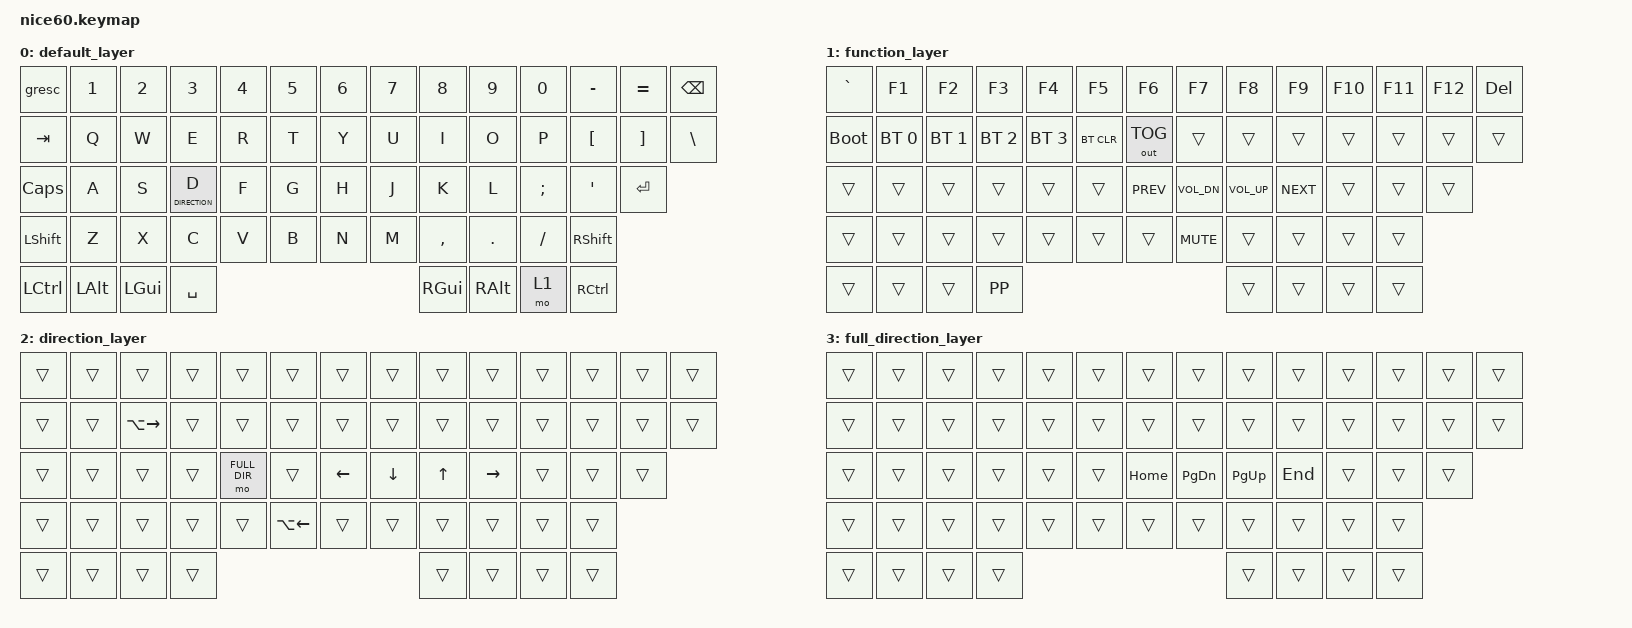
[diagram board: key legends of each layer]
/*
 * Copyright (c) 2021 Nick Winans
 *
 * SPDX-License-Identifier: MIT
 */

#include <behaviors.dtsi>
#include <dt-bindings/zmk/keys.h>
/*#include <dt-bindings/zmk/rgb.h>*/
#include <dt-bindings/zmk/bt.h>
#include <dt-bindings/zmk/outputs.h>
#include <dt-bindings/zmk/reset.h>
#include <dt-bindings/zmk/ext_power.h>


#define DEFAULT    0
#define FUNCTION   1
#define DIRECTION  2
#define FULL_DIR   3

/ {
	keymap {
		compatible = "zmk,keymap";

		default_layer {
// ------------------------------------------------------------------------------------------
// | ESC |  1  |  2  |  3  |  4  |  5  |  6  |  7  |  8  |  9  |  0  |  -  |  =  |   BKSP   |
// | TAB  |  Q  |  W  |  E  |  R  |  T  |  Y  |  U  |  I  |  O  |  P  |  [  |  ]  |   "|"   |
// | CAPS  |  A  |  S  |  D  |  F  |  G  |  H  |  J  |  K  |  L  |  ;  |  '  |     ENTER    |
// |  SHIFT  |  Z  |  X  |  C  |  V  |  B  |  N  |  M  |  ,  |  .  |  /  |      SHIFT       |
// |  CTL  |  WIN  |  ALT  |            SPACE              |  ALT  |  WIN  |  MO(1) |  CTL  |
// ------------------------------------------------------------------------------------------
			bindings = <
	&gresc     &kp N1    &kp N2   &kp N3           &kp N4  &kp N5  &kp N6  &kp N7  &kp N8    &kp N9    &kp N0    &kp MINUS  &kp EQUAL  &kp BSPC
	&kp TAB    &kp Q     &kp W    &kp E            &kp R   &kp T   &kp Y   &kp U   &kp I     &kp O     &kp P     &kp LBKT   &kp RBKT   &kp BSLH
	&kp CLCK   &kp A     &kp S    &lt DIRECTION D  &kp F   &kp G   &kp H   &kp J   &kp K     &kp L     &kp SEMI  &kp SQT    &kp RET
	&kp LSHFT &kp Z     &kp X    &kp C            &kp V   &kp B   &kp N   &kp M   &kp COMMA &kp DOT   &kp FSLH  &kp RSHFT
	&kp LCTRL  &kp LALT  &kp LGUI                  &kp SPACE                         &kp RGUI  &kp RALT  &mo 1      &kp RCTRL
			>;
		};

		function_layer {
// --------------------------------------------------------------------------------------
// |  `  | F1  | F2  | F3  | F4  | F5  | F6  | F7  | F8  | F9  | F10  | F11 | F12 | DEL |
// | boot| BT1 | BT2 | BT3 | BT4 |BTCLR|     |     |     |     |      |     |     |     |
// |     | PLAY| MUTE| VOL-| VOL+| PREV| NEXT|     |     |     |      |     |     |
// |     |     |      |      |     |     |     |     |     |     |     |                  |
// |     |      |      |             |    |       |       |  |
// ------------------------------------------------------------------------------------------------
			bindings = <
	&kp GRAVE   &kp F1       &kp F2       &kp F3       &kp F4       &kp F5     &kp F6     &kp F7  &kp F8  &kp F9  &kp F10  &kp F11  &kp F12  &kp DEL
	&bootloader &bt BT_SEL 0 &bt BT_SEL 1 &bt BT_SEL 2 &bt BT_SEL 3 &bt BT_CLR &out OUT_TOG  &trans  &trans  &trans  &trans   &trans   &trans   &trans
	&trans      &trans       &trans       &trans       &trans       &trans     &kp C_PREV &kp C_VOL_DN  &kp C_VOL_UP  &kp C_NEXT  &trans   &trans   &trans
	&trans      &trans       &trans       &trans       &trans       &trans     &trans     &kp C_MUTE  &trans  &trans  &trans   &trans
	&trans      &trans       &trans                            &kp K_PP          &trans  &trans      &trans  &trans
			>;
		};

		direction_layer {
// ------------------------------------------------------------------------------------------
// | ESC |  1  |  2  |  3  |  4  |  5  |  6  |  7  |  8  |  9  |  0  |  -  |  =  |   BKSP   |
// | TAB  |  Q  |  W  |  E  |  R  |  T  |  Y  |  U  |  I  |  O  |  P  |  [  |  ]  |   "|"   |
// | CAPS  |  A  |  S  |  D  |  F  |  G  |  H  |  J  |  K  |  L  |  ;  |  '  |     ENTER    |
// |  SHIFT  |  Z  |  X  |  C  |  V  |  B  |  N  |  M  |  ,  |  .  |  /  |      SHIFT       |
// |  CTL  |  WIN  |  ALT  |            SPACE              |  ALT  |  WIN  |  MO(1) |  CTL  |
// ------------------------------------------------------------------------------------------
			bindings = <
	&trans &trans &trans         &trans &trans        &trans        &trans    &trans    &trans  &trans     &trans &trans &trans &trans
	&trans &trans &kp LA(RIGHT)  &trans &trans        &trans        &trans    &trans    &trans  &trans     &trans &trans &trans &trans
	&trans &trans &trans         &trans &mo FULL_DIR  &trans        &kp LEFT  &kp DOWN  &kp UP  &kp RIGHT  &trans &trans &trans
	&trans &trans &trans         &trans &trans        &kp LA(LEFT)  &trans    &trans    &trans  &trans     &trans &trans
	&trans &trans &trans         &trans &trans        &trans        &trans    &trans
			>;
		};

        full_direction_layer {
// ------------------------------------------------------------------------------------------
// | ESC |  1  |  2  |  3  |  4  |  5  |  6  |  7  |  8  |  9  |  0  |  -  |  =  |   BKSP   |
// | TAB  |  Q  |  W  |  E  |  R  |  T  |  Y  |  U  |  I  |  O  |  P  |  [  |  ]  |   "|"   |
// | CAPS  |  A  |  S  |  D  |  F  |  G  |  H  |  J  |  K  |  L  |  ;  |  '  |     ENTER    |
// |  SHIFT  |  Z  |  X  |  C  |  V  |  B  |  N  |  M  |  ,  |  .  |  /  |      SHIFT       |
// |  CTL  |  WIN  |  ALT  |            SPACE              |  ALT  |  WIN  |  MO(1) |  CTL  |
// ------------------------------------------------------------------------------------------
			bindings = <
	&trans &trans &trans &trans &trans &trans &trans   &trans    &trans    &trans  &trans &trans &trans &trans
	&trans &trans &trans &trans &trans &trans &trans   &trans    &trans    &trans  &trans &trans &trans &trans
	&trans &trans &trans &trans &trans &trans &kp HOME &kp PG_DN &kp PG_UP &kp END &trans &trans &trans
	&trans &trans &trans &trans &trans &trans &trans   &trans    &trans    &trans  &trans &trans
	&trans &trans &trans &trans &trans &trans &trans   &trans
			>;
		};

	};
};
